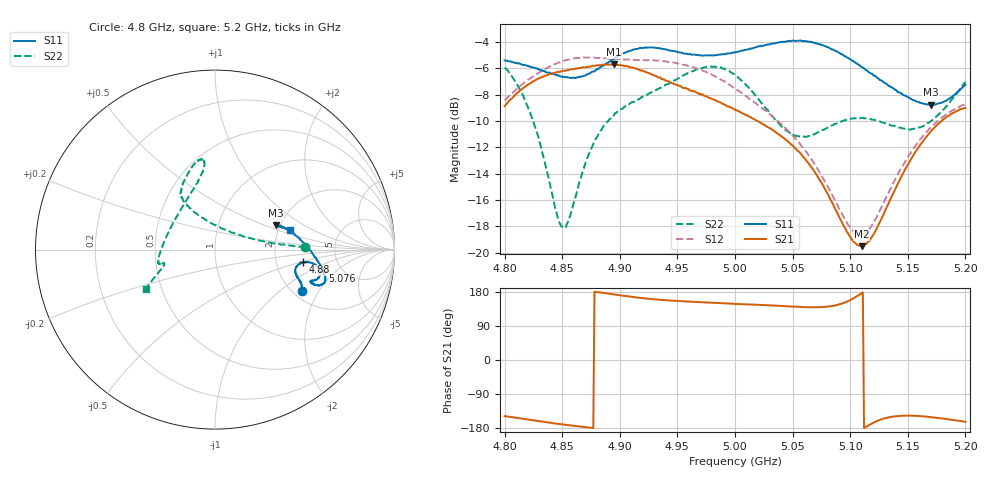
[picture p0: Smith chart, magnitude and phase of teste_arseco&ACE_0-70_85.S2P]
! Network Analyzer HP8722D
! Hewlett-Packard
! Data name: Linha & Wilkinson
! Saver's name: Rodrigo Anjos
! Comments: Teste da utilização de aquisição
! continua pelo VNA HP8722D
! Time and date: 8/5/2025 13:28
!  Frequency  S11  S21  S12  S22
# HZ  S  MA R 50
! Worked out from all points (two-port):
!   401 points, 4.8 GHz to 5.2 GHz, reference 50 ohm
!   highest |S21| = -5.69 dB at 4.895 GHz (marker M1); lowest = -19.5 dB at 5.11 GHz (marker M2)
!   |S21| within 3 dB of the highest: 4.802 GHz to 4.989 GHz (187 MHz wide, 3.82 % of centre)
!   lowest |S11| = -8.8 dB at 5.17 GHz (marker M3), VSWR 2.15, Z = 95 + j29.8 ohm
!   |S11| at or under -10 dB: nowhere
!   |S22| runs from -18.1 to -5.9 dB; largest |S21 - S12| = 1.1
!   S11 on the Smith chart (normalised r, x): 4.8 GHz: 2.23, -1.45; 4.88 GHz: 2.86, -0.53; 5.076 GHz: 3.63, -1.37; 5.2 GHz: 2.33, +0.63
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4.8e9  0.537 -25.5  0.3603 -148.3  0.3786 11.1  0.5033 1.5
4.813e9  0.5213 -22.3  0.4109 -153.5  0.4286 9.3  0.4187 3.2
4.824e9  0.5055 -20.6  0.4445 -158.6  0.4636 7.7  0.3216 6.3
4.849e9  0.4666 -16.4  0.4882 -169.5  0.5307 3.7  0.126 56.7
4.855e9  0.4622 -14.6  0.4935 -171.8  0.5404 2.7  0.1306 84.0
4.867e9  0.4662 -11.2  0.5038 -176.0  0.5509 1.1  0.1979 113.4
4.88e9  0.4964 -8.2  0.5147 179.2  0.5488 -0.0  0.2732 121.4
4.895e9  0.5456 -7.9  0.5194 173.2  0.541 -0.3  0.3328 122.6
4.913e9  0.5924 -10.9  0.5005 165.7  0.5396 0.1  0.3768 120.1
4.934e9  0.5984 -15.5  0.462 158.8  0.5374 -0.8  0.4191 114.0
4.975e9  0.5611 -18.5  0.3925 151.9  0.4862 -4.6  0.5071 100.1
5e9  0.5775 -19.1  0.3485 148.0  0.4205 -4.8  0.4726 97.3
5.043e9  0.6313 -17.4  0.2704 142.2  0.2996 3.2  0.2948 129.7
5.067e9  0.6303 -13.4  0.2088 139.2  0.2242 9.7  0.28 164.5
5.076e9  0.6138 -11.0  0.1811 139.7  0.1929 13.9  0.2922 174.6
5.099e9  0.5452 -2.6  0.1165 156.7  0.1263 38.0  0.3217 -169.8
5.11e9  0.5061 2.8  0.1057 176.2  0.1167 60.0  0.3245 -166.8
5.119e9  0.478 7.2  0.115 -167.2  0.127 77.3  0.3194 -165.8
5.134e9  0.4287 14.3  0.1564 -151.0  0.1709 94.8  0.3062 -165.3
5.153e9  0.3826 20.4  0.2269 -146.9  0.2414 101.9  0.294 -164.0
5.17e9  0.3645 21.9  0.2883 -150.5  0.2988 103.2  0.3153 -160.4
5.2e9  0.4344 14.6  0.3542 -163.0  0.3669 103.5  0.4449 -150.5
